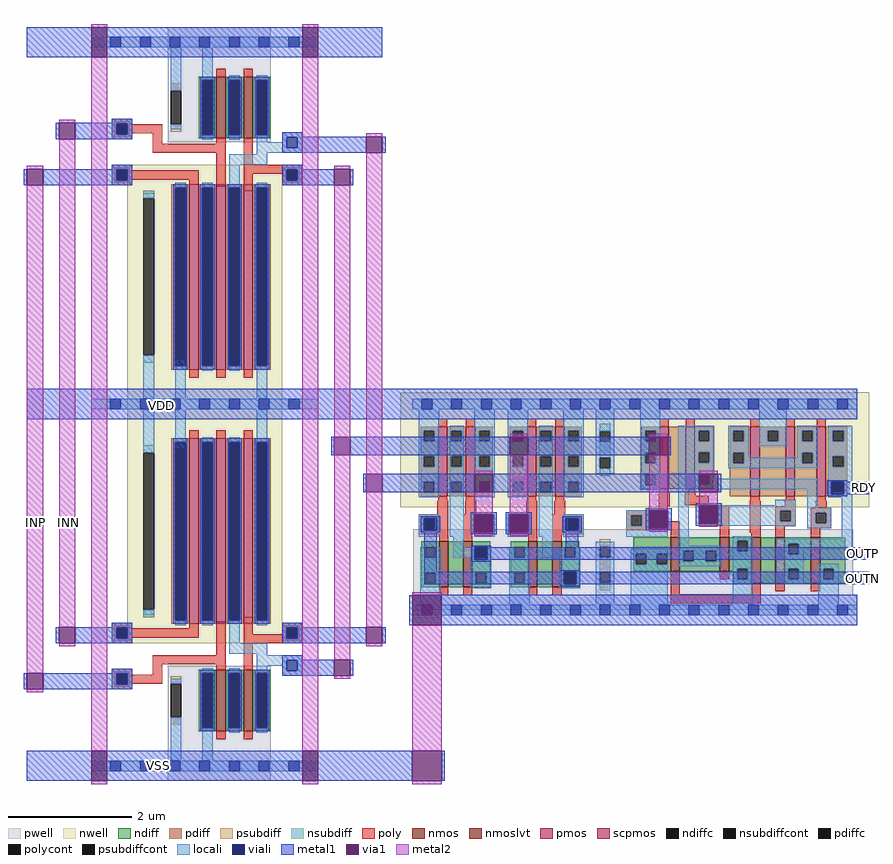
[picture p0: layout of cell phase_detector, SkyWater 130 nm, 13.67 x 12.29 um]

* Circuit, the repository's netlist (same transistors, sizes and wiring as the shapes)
* NGSPICE file created from phase_detector.ext - technology: sky130A

.subckt sky130_fd_sc_hs__nand2_1 A B VGND VNB VPB VPWR Y
X0 a_117_74# B VGND VNB sky130_fd_pr__nfet_01v8_lvt ad=0.0888 pd=0.98 as=0.2109 ps=2.05 w=0.74 l=0.15
X1 VPWR A Y VPB sky130_fd_pr__pfet_01v8 ad=0.3192 pd=2.81 as=0.168 ps=1.42 w=1.12 l=0.15
X2 Y A a_117_74# VNB sky130_fd_pr__nfet_01v8_lvt ad=0.2109 pd=2.05 as=0.0888 ps=0.98 w=0.74 l=0.15
X3 Y B VPWR VPB sky130_fd_pr__pfet_01v8 ad=0.168 pd=1.42 as=0.3192 ps=2.81 w=1.12 l=0.15
.ends

.subckt sky130_fd_sc_hs__xor2_1 A B VGND VNB VPB VPWR X
X0 X B a_455_87# VNB sky130_fd_pr__nfet_01v8_lvt ad=0.1554 pd=1.16 as=0.0888 ps=0.98 w=0.74 l=0.15
X1 X a_194_125# a_355_368# VPB sky130_fd_pr__pfet_01v8 ad=0.3864 pd=2.93 as=0.196 ps=1.47 w=1.12 l=0.15
X2 a_194_125# B a_158_392# VPB sky130_fd_pr__pfet_01v8 ad=0.295 pd=2.59 as=0.135 ps=1.27 w=1 l=0.15
X3 VPWR A a_355_368# VPB sky130_fd_pr__pfet_01v8 ad=0.2352 pd=1.54 as=0.3752 ps=2.91 w=1.12 l=0.15
X4 a_158_392# A VPWR VPB sky130_fd_pr__pfet_01v8 ad=0.135 pd=1.27 as=0.295 ps=2.59 w=1 l=0.15
X5 a_355_368# B VPWR VPB sky130_fd_pr__pfet_01v8 ad=0.196 pd=1.47 as=0.2352 ps=1.54 w=1.12 l=0.15
X6 a_194_125# A VGND VNB sky130_fd_pr__nfet_01v8_lvt ad=0.17738 pd=1.195 as=0.33275 ps=2.31 w=0.55 l=0.15
X7 a_455_87# A VGND VNB sky130_fd_pr__nfet_01v8_lvt ad=0.0888 pd=0.98 as=0.12607 ps=1.1 w=0.74 l=0.15
X8 VGND B a_194_125# VNB sky130_fd_pr__nfet_01v8_lvt ad=0.12607 pd=1.1 as=0.17738 ps=1.195 w=0.55 l=0.15
X9 VGND a_194_125# X VNB sky130_fd_pr__nfet_01v8_lvt ad=0.2997 pd=2.29 as=0.1554 ps=1.16 w=0.74 l=0.15
.ends

.subckt pd_out A B RDY OUTP OUTN VDD VSS
Xx1 B OUTN VSS VSS VDD VDD OUTP sky130_fd_sc_hs__nand2_1
Xx2 OUTP A VSS VSS VDD VDD OUTN sky130_fd_sc_hs__nand2_1
Xx3 A B VSS VSS VDD VDD RDY sky130_fd_sc_hs__xor2_1
.ends

.subckt sky130_fd_pr__pfet_01v8_5EUKDE a_n73_n300# w_n109_n362# a_15_n300# a_n15_n326#
X0 a_15_n300# a_n15_n326# a_n73_n300# w_n109_n362# sky130_fd_pr__pfet_01v8 ad=0.87 pd=6.58 as=0.87 ps=6.58 w=3 l=0.15
.ends

.subckt sky130_fd_pr__nfet_01v8_QQ7V57 a_n73_n100# a_15_n100# a_n15_n126# VSUBS
X0 a_15_n100# a_n15_n126# a_n73_n100# VSUBS sky130_fd_pr__nfet_01v8 ad=0.29 pd=2.58 as=0.29 ps=2.58 w=1 l=0.15
.ends

.subckt pd_in_half OUT VDD VSS INB IN OUTB
Xsky130_fd_pr__pfet_01v8_5EUKDE_0 OUT VDD VDD OUTB sky130_fd_pr__pfet_01v8_5EUKDE
Xsky130_fd_pr__pfet_01v8_5EUKDE_1 sky130_fd_pr__pfet_01v8_5EUKDE_2/a_15_n300# VDD
+ OUT IN sky130_fd_pr__pfet_01v8_5EUKDE
Xsky130_fd_pr__pfet_01v8_5EUKDE_2 VDD VDD sky130_fd_pr__pfet_01v8_5EUKDE_2/a_15_n300#
+ INB sky130_fd_pr__pfet_01v8_5EUKDE
Xsky130_fd_pr__nfet_01v8_QQ7V57_0 VSS sky130_fd_pr__nfet_01v8_QQ7V57_0/a_15_n100#
+ IN VSS sky130_fd_pr__nfet_01v8_QQ7V57
Xsky130_fd_pr__nfet_01v8_QQ7V57_1 sky130_fd_pr__nfet_01v8_QQ7V57_0/a_15_n100# OUT
+ OUTB VSS sky130_fd_pr__nfet_01v8_QQ7V57
.ends

.subckt pd_in INP INN VDD A B VSS
Xpd_in_half_0 B VDD VSS INP INN A pd_in_half
Xpd_in_half_1 A VDD VSS INN INP B pd_in_half
.ends

.subckt phase_detector VDD VSS INP INN RDY OUTP OUTN
Xpd_out_0 pd_in_0/A pd_in_0/B RDY OUTP OUTN VDD VSS pd_out
Xpd_in_0 INP INN VDD pd_in_0/A pd_in_0/B VSS pd_in
.ends

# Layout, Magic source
magic
tech sky130A
magscale 1 2
<< metal1 >>
rect -18 1178 2668 1276
rect 966 1061 976 1121
rect 1028 1061 1260 1121
rect 1070 941 1080 1001
rect 1132 941 1264 1001
rect 2623 935 2706 975
rect 1471 723 2706 763
rect 1759 644 2706 684
rect 1218 512 1228 608
rect 1324 512 1334 608
rect -18 8 1228 106
rect 1324 8 1334 106
<< via1 >>
rect 976 1061 1028 1121
rect 1080 941 1132 1001
rect 1228 512 1324 608
rect 1228 8 1324 106
<< metal2 >>
rect -18 356 34 1935
rect 86 505 138 2084
rect 976 1121 1028 1131
rect 976 1051 1028 1061
rect 1080 1001 1132 1011
rect 1080 931 1132 941
rect 1228 608 1324 618
rect 1228 106 1324 512
rect 1228 -2 1324 8
use pd_in  pd_in_0
transform 1 0 590 0 1 1212
box -618 -1214 552 1244
use pd_out  pd_out_0
transform 1 0 1190 0 1 610
box 0 -98 1516 666
<< labels >>
flabel metal1 401 1208 431 1238 0 FreeSans 400 0 0 0 VDD
port 0 nsew
flabel metal1 392 43 422 73 0 FreeSans 400 0 0 0 VSS
port 1 nsew
flabel metal2 -5 829 25 859 0 FreeSans 400 0 0 0 INP
port 2 nsew
flabel metal2 100 829 130 859 0 FreeSans 400 0 0 0 INN
port 3 nsew
flabel metal1 2672 941 2702 971 0 FreeSans 400 0 0 0 RDY
port 4 nsew
flabel metal1 2669 730 2699 760 0 FreeSans 400 0 0 0 OUTP
port 5 nsew
flabel metal1 2670 648 2700 678 0 FreeSans 400 0 0 0 OUTN
port 6 nsew
<< end >>

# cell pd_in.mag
magic
tech sky130A
magscale 1 2
<< metal1 >>
rect -608 1136 -400 1234
rect -348 1136 282 1234
rect 334 1136 542 1234
rect -514 872 -504 924
rect -452 872 -317 924
rect 283 828 490 880
rect 542 828 552 880
rect -618 723 -608 775
rect -556 723 -317 775
rect 283 723 386 775
rect 438 723 448 775
rect -608 -34 542 64
rect -514 -759 -504 -707
rect -452 -759 -317 -707
rect 283 -759 490 -707
rect 542 -759 552 -707
rect -618 -908 -608 -856
rect -556 -908 -318 -856
rect 283 -864 386 -812
rect 438 -864 448 -812
rect -608 -1204 -400 -1106
rect -348 -1204 282 -1106
rect 334 -1204 542 -1106
<< via1 >>
rect -400 1136 -348 1234
rect 282 1136 334 1234
rect -504 872 -452 924
rect 490 828 542 880
rect -608 723 -556 775
rect 386 723 438 775
rect -504 -759 -452 -707
rect 490 -759 542 -707
rect -608 -908 -556 -856
rect 386 -864 438 -812
rect -400 -1204 -348 -1106
rect 282 -1204 334 -1106
<< metal2 >>
rect -400 1234 -348 1244
rect -504 924 -452 934
rect -608 775 -556 785
rect -608 -856 -556 723
rect -504 -707 -452 872
rect -504 -769 -452 -759
rect -608 -918 -556 -908
rect -400 -1106 -348 1136
rect -400 -1214 -348 -1204
rect 282 1234 334 1244
rect 282 -1106 334 1136
rect 490 880 542 890
rect 386 775 438 785
rect 386 -812 438 723
rect 490 -707 542 828
rect 490 -769 542 -759
rect 386 -874 438 -864
rect 282 -1214 334 -1204
use pd_in_half  pd_in_half_0
transform 1 0 -496 0 -1 793
box 96 -441 830 827
use pd_in_half  pd_in_half_1
transform 1 0 -496 0 1 -763
box 96 -441 830 827
<< labels >>
flabel metal2 -596 -434 -566 -404 0 FreeSans 400 0 0 0 INP
port 0 nsew
flabel metal2 -492 -509 -462 -479 0 FreeSans 400 0 0 0 INN
port 1 nsew
flabel metal1 -2 0 28 30 0 FreeSans 400 0 0 0 VDD
port 2 nsew
flabel metal1 -30 -1169 0 -1139 0 FreeSans 400 0 0 0 VSS
port 3 nsew
flabel metal2 395 409 425 439 0 FreeSans 400 0 0 0 A
port 4 nsew
flabel metal2 498 410 528 440 0 FreeSans 400 0 0 0 B
port 5 nsew
<< end >>

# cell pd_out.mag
magic
tech sky130A
magscale 1 2
<< pwell >>
rect 42 -49 1464 212
<< viali >>
rect 1393 325 1433 365
rect 77 208 117 248
rect 239 201 299 261
rect 353 201 413 261
rect 535 208 575 248
rect 805 214 865 274
rect 967 230 1027 290
rect 241 113 281 153
rect 529 34 569 74
<< metal1 >>
rect 38 568 1478 666
rect 0 451 353 511
rect 413 451 805 511
rect 865 451 875 511
rect 0 331 239 391
rect 299 331 967 391
rect 1027 331 1037 391
rect 1381 365 1445 371
rect 1381 325 1393 365
rect 1433 325 1516 365
rect 1381 319 1445 325
rect 955 290 1039 296
rect 793 274 877 280
rect 227 261 311 267
rect 65 248 129 254
rect 65 208 77 248
rect 117 208 129 248
rect 65 202 129 208
rect 77 74 117 202
rect 227 201 239 261
rect 299 201 311 261
rect 227 195 311 201
rect 341 261 425 267
rect 341 201 353 261
rect 413 201 425 261
rect 523 248 587 254
rect 523 208 535 248
rect 575 208 587 248
rect 793 214 805 274
rect 865 214 877 274
rect 955 230 967 290
rect 1027 230 1039 290
rect 955 224 1039 230
rect 793 208 877 214
rect 523 202 587 208
rect 341 195 425 201
rect 229 153 293 159
rect 535 153 575 202
rect 229 113 241 153
rect 281 113 1516 153
rect 229 107 293 113
rect 517 74 581 80
rect 77 34 529 74
rect 569 34 1516 74
rect 517 28 581 34
rect 38 -98 1478 0
<< via1 >>
rect 353 451 413 511
rect 805 451 865 511
rect 239 331 299 391
rect 967 331 1027 391
rect 239 201 299 261
rect 353 201 413 261
rect 805 214 865 274
rect 967 230 1027 290
<< metal2 >>
rect 353 511 413 521
rect 239 391 299 401
rect 239 261 299 331
rect 239 191 299 201
rect 353 261 413 451
rect 805 511 865 521
rect 805 274 865 451
rect 967 391 1027 401
rect 967 290 1027 331
rect 967 220 1027 230
rect 805 204 865 214
rect 353 191 413 201
use sky130_fd_sc_hs__tapvpwrvgnd_1  sky130_fd_sc_hs__tapvpwrvgnd_1_0 $PDKPATH/libs.ref/sky130_fd_sc_hs/mag
transform 1 0 614 0 1 -49
box -38 -49 134 715
use sky130_fd_sc_hs__nand2_1  x1 $PDKPATH/libs.ref/sky130_fd_sc_hs/mag
transform 1 0 38 0 1 -49
box -38 -49 326 715
use sky130_fd_sc_hs__nand2_1  x2
transform 1 0 326 0 1 -49
box -38 -49 326 715
use sky130_fd_sc_hs__xor2_1  x3 $PDKPATH/libs.ref/sky130_fd_sc_hs/mag
transform 1 0 710 0 1 -49
box -38 -49 806 715
<< labels >>
flabel metal1 0 451 30 511 0 FreeSans 400 0 0 0 A
port 0 nsew
flabel metal1 0 331 30 391 0 FreeSans 400 0 0 0 B
port 1 nsew
flabel metal1 91 568 189 666 0 FreeSans 400 0 0 0 VDD
port 2 nsew
flabel metal1 95 -98 193 0 0 FreeSans 400 0 0 0 VSS
port 3 nsew
flabel metal1 1496 325 1516 365 0 FreeSans 400 0 0 0 RDY
port 4 nsew
flabel metal1 1476 113 1516 153 0 FreeSans 400 0 0 0 OUTP
port 5 nsew
flabel metal1 1476 34 1516 74 0 FreeSans 400 0 0 0 OUTN
port 7 nsew
<< end >>

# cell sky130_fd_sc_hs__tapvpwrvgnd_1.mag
magic
tech sky130A
magscale 1 2
<< nwell >>
rect -38 332 134 704
<< pwell >>
rect 5 38 91 255
<< psubdiff >>
rect 31 205 65 229
rect 31 122 65 171
rect 31 64 65 88
<< nsubdiff >>
rect 31 578 65 602
rect 31 492 65 544
rect 31 434 65 458
<< psubdiffcont >>
rect 31 171 65 205
rect 31 88 65 122
<< nsubdiffcont >>
rect 31 544 65 578
rect 31 458 65 492
<< locali >>
rect 0 649 31 683
rect 65 649 96 683
rect 18 578 78 649
rect 18 544 31 578
rect 65 544 78 578
rect 18 492 78 544
rect 18 458 31 492
rect 65 458 78 492
rect 18 441 78 458
rect 18 205 78 221
rect 18 171 31 205
rect 65 171 78 205
rect 18 122 78 171
rect 18 88 31 122
rect 65 88 78 122
rect 18 17 78 88
rect 0 -17 31 17
rect 65 -17 96 17
<< viali >>
rect 31 649 65 683
rect 31 -17 65 17
<< metal1 >>
rect 0 683 96 715
rect 0 649 31 683
rect 65 649 96 683
rect 0 617 96 649
rect 0 17 96 49
rect 0 -17 31 17
rect 65 -17 96 17
rect 0 -49 96 -17
<< labels >>
rlabel comment s 0 0 0 0 4 tapvpwrvgnd_1
flabel metal1 s 0 617 96 666 0 FreeSans 200 0 0 0 VPWR
port 1 nsew
flabel metal1 s 0 0 96 49 0 FreeSans 200 0 0 0 VGND
port 2 nsew
<< properties >>
string FIXED_BBOX 0 0 96 666
<< end >>

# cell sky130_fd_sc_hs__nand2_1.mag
magic
tech sky130A
magscale 1 2
<< nwell >>
rect -38 332 326 704
<< pwell >>
rect 4 49 278 248
rect 0 0 288 49
<< scpmos >>
rect 84 368 114 592
rect 174 368 204 592
<< nmoslvt >>
rect 87 74 117 222
rect 165 74 195 222
<< ndiff >>
rect 30 202 87 222
rect 30 168 42 202
rect 76 168 87 202
rect 30 120 87 168
rect 30 86 42 120
rect 76 86 87 120
rect 30 74 87 86
rect 117 74 165 222
rect 195 202 252 222
rect 195 168 206 202
rect 240 168 252 202
rect 195 120 252 168
rect 195 86 206 120
rect 240 86 252 120
rect 195 74 252 86
<< pdiff >>
rect 27 580 84 592
rect 27 546 37 580
rect 71 546 84 580
rect 27 497 84 546
rect 27 463 37 497
rect 71 463 84 497
rect 27 414 84 463
rect 27 380 37 414
rect 71 380 84 414
rect 27 368 84 380
rect 114 580 174 592
rect 114 546 127 580
rect 161 546 174 580
rect 114 497 174 546
rect 114 463 127 497
rect 161 463 174 497
rect 114 414 174 463
rect 114 380 127 414
rect 161 380 174 414
rect 114 368 174 380
rect 204 580 261 592
rect 204 546 217 580
rect 251 546 261 580
rect 204 497 261 546
rect 204 463 217 497
rect 251 463 261 497
rect 204 414 261 463
rect 204 380 217 414
rect 251 380 261 414
rect 204 368 261 380
<< ndiffc >>
rect 42 168 76 202
rect 42 86 76 120
rect 206 168 240 202
rect 206 86 240 120
<< pdiffc >>
rect 37 546 71 580
rect 37 463 71 497
rect 37 380 71 414
rect 127 546 161 580
rect 127 463 161 497
rect 127 380 161 414
rect 217 546 251 580
rect 217 463 251 497
rect 217 380 251 414
<< poly >>
rect 84 592 114 618
rect 174 592 204 618
rect 84 353 114 368
rect 174 353 204 368
rect 81 310 117 353
rect 171 310 207 353
rect 21 294 117 310
rect 21 260 37 294
rect 71 260 117 294
rect 21 244 117 260
rect 87 222 117 244
rect 165 294 267 310
rect 165 260 217 294
rect 251 260 267 294
rect 165 244 267 260
rect 165 222 195 244
rect 87 48 117 74
rect 165 48 195 74
<< polycont >>
rect 37 260 71 294
rect 217 260 251 294
<< locali >>
rect 0 649 31 683
rect 65 649 127 683
rect 161 649 223 683
rect 257 649 288 683
rect 21 580 87 649
rect 21 546 37 580
rect 71 546 87 580
rect 21 497 87 546
rect 21 463 37 497
rect 71 463 87 497
rect 21 414 87 463
rect 21 380 37 414
rect 71 380 87 414
rect 21 364 87 380
rect 121 580 167 596
rect 121 546 127 580
rect 161 546 167 580
rect 121 497 167 546
rect 121 463 127 497
rect 161 463 167 497
rect 121 414 167 463
rect 121 380 127 414
rect 161 380 167 414
rect 21 294 87 310
rect 21 260 37 294
rect 71 260 87 294
rect 21 236 87 260
rect 121 236 167 380
rect 201 580 267 649
rect 201 546 217 580
rect 251 546 267 580
rect 201 497 267 546
rect 201 463 217 497
rect 251 463 267 497
rect 201 414 267 463
rect 201 380 217 414
rect 251 380 267 414
rect 201 364 267 380
rect 201 294 267 310
rect 201 260 217 294
rect 251 260 267 294
rect 201 236 267 260
rect 133 202 167 236
rect 26 168 42 202
rect 76 168 92 202
rect 133 168 206 202
rect 240 168 256 202
rect 26 120 92 168
rect 26 86 42 120
rect 76 86 92 120
rect 26 17 92 86
rect 190 120 256 168
rect 190 86 206 120
rect 240 86 256 120
rect 190 70 256 86
rect 0 -17 31 17
rect 65 -17 127 17
rect 161 -17 223 17
rect 257 -17 288 17
<< viali >>
rect 31 649 65 683
rect 127 649 161 683
rect 223 649 257 683
rect 31 -17 65 17
rect 127 -17 161 17
rect 223 -17 257 17
<< metal1 >>
rect 0 683 288 715
rect 0 649 31 683
rect 65 649 127 683
rect 161 649 223 683
rect 257 649 288 683
rect 0 617 288 649
rect 0 17 288 49
rect 0 -17 31 17
rect 65 -17 127 17
rect 161 -17 223 17
rect 257 -17 288 17
rect 0 -49 288 -17
<< labels >>
rlabel comment s 0 0 0 0 4 nand2_1
flabel pwell s 0 0 288 49 0 FreeSans 200 0 0 0 VNB
port 1 nsew
flabel nwell s 0 617 288 666 0 FreeSans 200 0 0 0 VPB
port 2 nsew
flabel metal1 s 0 617 288 666 0 FreeSans 340 0 0 0 VPWR
port 3 nsew
flabel metal1 s 0 0 288 49 0 FreeSans 340 0 0 0 VGND
port 4 nsew
flabel locali s 31 242 65 276 0 FreeSans 340 0 0 0 B
port 6 nsew
flabel locali s 127 242 161 276 0 FreeSans 340 0 0 0 Y
port 7 nsew
flabel locali s 127 316 161 350 0 FreeSans 340 0 0 0 Y
port 7 nsew
flabel locali s 127 390 161 424 0 FreeSans 340 0 0 0 Y
port 7 nsew
flabel locali s 127 464 161 498 0 FreeSans 340 0 0 0 Y
port 7 nsew
flabel locali s 127 538 161 572 0 FreeSans 340 0 0 0 Y
port 7 nsew
flabel locali s 223 242 257 276 0 FreeSans 340 0 0 0 A
port 8 nsew
<< properties >>
string FIXED_BBOX 0 0 288 666
<< end >>

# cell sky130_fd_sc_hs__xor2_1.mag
magic
tech sky130A
magscale 1 2
<< nwell >>
rect -38 332 806 704
<< pwell >>
rect 17 49 754 261
rect 0 0 768 49
<< scpmos >>
rect 128 392 158 592
rect 212 392 242 592
rect 422 368 452 592
rect 536 368 566 592
rect 636 368 666 592
<< nmoslvt >>
rect 164 125 194 235
rect 323 125 353 235
rect 425 87 455 235
rect 503 87 533 235
rect 617 87 647 235
<< ndiff >>
rect 43 182 164 235
rect 43 148 51 182
rect 85 148 119 182
rect 153 148 164 182
rect 43 125 164 148
rect 194 192 323 235
rect 194 158 205 192
rect 239 158 278 192
rect 312 158 323 192
rect 194 125 323 158
rect 353 223 425 235
rect 353 189 380 223
rect 414 189 425 223
rect 353 133 425 189
rect 353 125 380 133
rect 368 99 380 125
rect 414 99 425 133
rect 368 87 425 99
rect 455 87 503 235
rect 533 214 617 235
rect 533 180 544 214
rect 578 180 617 214
rect 533 133 617 180
rect 533 99 544 133
rect 578 99 617 133
rect 533 87 617 99
rect 647 133 728 235
rect 647 99 658 133
rect 692 99 728 133
rect 647 87 728 99
<< pdiff >>
rect 69 580 128 592
rect 69 546 81 580
rect 115 546 128 580
rect 69 509 128 546
rect 69 475 81 509
rect 115 475 128 509
rect 69 438 128 475
rect 69 404 81 438
rect 115 404 128 438
rect 69 392 128 404
rect 158 392 212 592
rect 242 580 301 592
rect 242 546 255 580
rect 289 546 301 580
rect 242 510 301 546
rect 242 476 255 510
rect 289 476 301 510
rect 242 440 301 476
rect 242 406 255 440
rect 289 406 301 440
rect 242 392 301 406
rect 355 580 422 592
rect 355 546 367 580
rect 401 546 422 580
rect 355 508 422 546
rect 355 474 367 508
rect 401 474 422 508
rect 355 368 422 474
rect 452 580 536 592
rect 452 546 478 580
rect 512 546 536 580
rect 452 368 536 546
rect 566 580 636 592
rect 566 546 589 580
rect 623 546 636 580
rect 566 508 636 546
rect 566 474 589 508
rect 623 474 636 508
rect 566 368 636 474
rect 666 580 735 592
rect 666 546 689 580
rect 723 546 735 580
rect 666 497 735 546
rect 666 463 689 497
rect 723 463 735 497
rect 666 414 735 463
rect 666 380 689 414
rect 723 380 735 414
rect 666 368 735 380
<< ndiffc >>
rect 51 148 85 182
rect 119 148 153 182
rect 205 158 239 192
rect 278 158 312 192
rect 380 189 414 223
rect 380 99 414 133
rect 544 180 578 214
rect 544 99 578 133
rect 658 99 692 133
<< pdiffc >>
rect 81 546 115 580
rect 81 475 115 509
rect 81 404 115 438
rect 255 546 289 580
rect 255 476 289 510
rect 255 406 289 440
rect 367 546 401 580
rect 367 474 401 508
rect 478 546 512 580
rect 589 546 623 580
rect 589 474 623 508
rect 689 546 723 580
rect 689 463 723 497
rect 689 380 723 414
<< poly >>
rect 128 592 158 618
rect 212 592 242 618
rect 422 592 452 618
rect 536 592 566 618
rect 636 592 666 618
rect 128 377 158 392
rect 212 377 242 392
rect 125 335 161 377
rect 209 369 245 377
rect 209 339 287 369
rect 422 353 452 368
rect 536 353 566 368
rect 636 353 666 368
rect 125 323 155 335
rect 21 307 155 323
rect 21 273 37 307
rect 71 273 105 307
rect 139 287 155 307
rect 257 323 353 339
rect 257 289 273 323
rect 307 289 353 323
rect 139 273 194 287
rect 257 273 353 289
rect 21 257 194 273
rect 164 235 194 257
rect 323 235 353 273
rect 419 250 455 353
rect 533 336 569 353
rect 425 235 455 250
rect 503 320 569 336
rect 633 330 669 353
rect 503 286 519 320
rect 553 286 569 320
rect 503 270 569 286
rect 617 314 683 330
rect 617 280 633 314
rect 667 280 683 314
rect 503 235 533 270
rect 617 264 683 280
rect 617 235 647 264
rect 164 51 194 125
rect 323 99 353 125
rect 425 51 455 87
rect 503 61 533 87
rect 617 61 647 87
rect 164 21 455 51
<< polycont >>
rect 37 273 71 307
rect 105 273 139 307
rect 273 289 307 323
rect 519 286 553 320
rect 633 280 667 314
<< locali >>
rect 0 649 31 683
rect 65 649 127 683
rect 161 649 223 683
rect 257 649 319 683
rect 353 649 415 683
rect 449 649 511 683
rect 545 649 607 683
rect 641 649 703 683
rect 737 649 768 683
rect 65 580 131 649
rect 65 546 81 580
rect 115 546 131 580
rect 65 509 131 546
rect 65 475 81 509
rect 115 475 131 509
rect 65 438 131 475
rect 65 404 81 438
rect 115 404 131 438
rect 65 388 131 404
rect 189 580 305 596
rect 189 546 255 580
rect 289 546 305 580
rect 189 510 305 546
rect 189 476 255 510
rect 289 476 305 510
rect 189 440 305 476
rect 351 580 417 596
rect 351 546 367 580
rect 401 546 417 580
rect 351 508 417 546
rect 451 580 539 649
rect 451 546 478 580
rect 512 546 539 580
rect 451 530 539 546
rect 573 580 639 596
rect 573 546 589 580
rect 623 546 639 580
rect 351 474 367 508
rect 401 492 417 508
rect 573 508 639 546
rect 573 492 589 508
rect 401 474 589 492
rect 623 474 639 508
rect 351 458 639 474
rect 673 580 751 596
rect 673 546 689 580
rect 723 546 751 580
rect 673 497 751 546
rect 673 463 689 497
rect 723 463 751 497
rect 189 406 255 440
rect 289 424 305 440
rect 289 406 639 424
rect 189 390 639 406
rect 21 307 155 323
rect 21 273 37 307
rect 71 273 105 307
rect 139 273 155 307
rect 21 236 155 273
rect 189 208 223 390
rect 503 339 569 356
rect 257 323 569 339
rect 257 289 273 323
rect 307 320 569 323
rect 307 289 519 320
rect 257 286 519 289
rect 553 286 569 320
rect 257 273 569 286
rect 503 270 569 273
rect 605 330 639 390
rect 673 414 751 463
rect 673 380 689 414
rect 723 380 751 414
rect 673 364 751 380
rect 605 314 683 330
rect 605 280 633 314
rect 667 280 683 314
rect 605 264 683 280
rect 364 223 430 239
rect 717 230 751 364
rect 35 182 155 198
rect 35 148 51 182
rect 85 148 119 182
rect 153 148 155 182
rect 35 17 155 148
rect 189 192 328 208
rect 189 158 205 192
rect 239 158 278 192
rect 312 158 328 192
rect 189 142 328 158
rect 364 189 380 223
rect 414 189 430 223
rect 364 133 430 189
rect 364 99 380 133
rect 414 99 430 133
rect 364 17 430 99
rect 505 214 751 230
rect 505 180 544 214
rect 578 196 751 214
rect 578 180 594 196
rect 505 133 594 180
rect 505 99 544 133
rect 578 99 594 133
rect 505 83 594 99
rect 642 133 708 149
rect 642 99 658 133
rect 692 99 708 133
rect 642 17 708 99
rect 0 -17 31 17
rect 65 -17 127 17
rect 161 -17 223 17
rect 257 -17 319 17
rect 353 -17 415 17
rect 449 -17 511 17
rect 545 -17 607 17
rect 641 -17 703 17
rect 737 -17 768 17
<< viali >>
rect 31 649 65 683
rect 127 649 161 683
rect 223 649 257 683
rect 319 649 353 683
rect 415 649 449 683
rect 511 649 545 683
rect 607 649 641 683
rect 703 649 737 683
rect 31 -17 65 17
rect 127 -17 161 17
rect 223 -17 257 17
rect 319 -17 353 17
rect 415 -17 449 17
rect 511 -17 545 17
rect 607 -17 641 17
rect 703 -17 737 17
<< metal1 >>
rect 0 683 768 715
rect 0 649 31 683
rect 65 649 127 683
rect 161 649 223 683
rect 257 649 319 683
rect 353 649 415 683
rect 449 649 511 683
rect 545 649 607 683
rect 641 649 703 683
rect 737 649 768 683
rect 0 617 768 649
rect 0 17 768 49
rect 0 -17 31 17
rect 65 -17 127 17
rect 161 -17 223 17
rect 257 -17 319 17
rect 353 -17 415 17
rect 449 -17 511 17
rect 545 -17 607 17
rect 641 -17 703 17
rect 737 -17 768 17
rect 0 -49 768 -17
<< labels >>
rlabel comment s 0 0 0 0 4 xor2_1
flabel pwell s 0 0 768 49 0 FreeSans 200 0 0 0 VNB
port 1 nsew
flabel nwell s 0 617 768 666 0 FreeSans 200 0 0 0 VPB
port 2 nsew
flabel metal1 s 0 617 768 666 0 FreeSans 340 0 0 0 VPWR
port 3 nsew
flabel metal1 s 0 0 768 49 0 FreeSans 340 0 0 0 VGND
port 4 nsew
flabel locali s 31 242 65 276 0 FreeSans 340 0 0 0 A
port 6 nsew
flabel locali s 511 316 545 350 0 FreeSans 340 0 0 0 B
port 7 nsew
flabel locali s 511 94 545 128 0 FreeSans 340 0 0 0 X
port 8 nsew
flabel locali s 511 168 545 202 0 FreeSans 340 0 0 0 X
port 8 nsew
<< properties >>
string FIXED_BBOX 0 0 768 666
<< end >>

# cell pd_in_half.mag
magic
tech sky130A
magscale 1 2
<< nwell >>
rect 213 707 713 827
rect 213 5 319 707
<< pwell >>
rect 344 -441 677 -69
<< psubdiff >>
rect 353 -127 387 -103
rect 353 -259 387 -235
<< nsubdiff >>
rect 265 621 299 645
rect 265 89 299 113
<< psubdiffcont >>
rect 353 -235 387 -127
<< nsubdiffcont >>
rect 265 113 299 621
<< poly >>
rect 163 54 229 70
rect 163 20 179 54
rect 213 52 229 54
rect 413 52 443 58
rect 213 22 443 52
rect 213 20 229 22
rect 163 4 229 20
rect 501 -34 531 76
rect 295 -64 531 -34
rect 589 34 619 90
rect 713 54 779 70
rect 713 34 729 54
rect 589 20 729 34
rect 763 20 779 54
rect 589 4 779 20
rect 589 -55 619 4
rect 163 -95 229 -79
rect 163 -129 179 -95
rect 213 -97 229 -95
rect 295 -97 325 -64
rect 501 -77 531 -64
rect 213 -127 325 -97
rect 213 -129 229 -127
rect 163 -145 229 -129
<< polycont >>
rect 179 20 213 54
rect 729 20 763 54
rect 179 -129 213 -95
<< locali >>
rect 96 761 158 795
rect 192 761 254 795
rect 288 761 350 795
rect 384 761 446 795
rect 480 761 542 795
rect 576 761 638 795
rect 672 761 734 795
rect 768 761 830 795
rect 265 621 299 761
rect 367 636 401 761
rect 631 671 665 761
rect 265 97 299 113
rect 163 54 229 70
rect 163 20 179 54
rect 213 20 229 54
rect 163 4 229 20
rect 543 4 577 67
rect 713 54 779 70
rect 713 20 729 54
rect 763 20 779 54
rect 713 4 779 20
rect 543 -30 665 4
rect 631 -35 665 -30
rect 631 -51 779 -35
rect 631 -69 729 -51
rect 163 -95 229 -79
rect 631 -81 665 -69
rect 163 -129 179 -95
rect 213 -129 229 -95
rect 713 -85 729 -69
rect 763 -85 779 -51
rect 713 -101 779 -85
rect 163 -145 229 -129
rect 353 -127 387 -111
rect 353 -375 387 -235
rect 455 -375 489 -285
rect 96 -409 158 -375
rect 192 -409 254 -375
rect 288 -409 350 -375
rect 384 -409 446 -375
rect 480 -409 542 -375
rect 576 -409 638 -375
rect 672 -409 734 -375
rect 768 -409 830 -375
<< viali >>
rect 158 761 192 795
rect 254 761 288 795
rect 350 761 384 795
rect 446 761 480 795
rect 542 761 576 795
rect 638 761 672 795
rect 734 761 768 795
rect 179 20 213 54
rect 729 20 763 54
rect 179 -129 213 -95
rect 729 -85 763 -51
rect 158 -409 192 -375
rect 254 -409 288 -375
rect 350 -409 384 -375
rect 446 -409 480 -375
rect 542 -409 576 -375
rect 638 -409 672 -375
rect 734 -409 768 -375
<< metal1 >>
rect 96 795 830 827
rect 96 761 158 795
rect 192 761 254 795
rect 288 761 350 795
rect 384 761 446 795
rect 480 761 542 795
rect 576 761 638 795
rect 672 761 734 795
rect 768 761 830 795
rect 96 729 830 761
rect 163 54 229 70
rect 163 20 179 54
rect 213 20 229 54
rect 163 4 229 20
rect 713 54 779 70
rect 713 20 729 54
rect 763 20 779 54
rect 713 4 779 20
rect 713 -51 779 -35
rect 163 -95 229 -79
rect 163 -129 179 -95
rect 213 -129 229 -95
rect 713 -85 729 -51
rect 763 -85 779 -51
rect 713 -101 779 -85
rect 163 -145 229 -129
rect 96 -375 830 -343
rect 96 -409 158 -375
rect 192 -409 254 -375
rect 288 -409 350 -375
rect 384 -409 446 -375
rect 480 -409 542 -375
rect 576 -409 638 -375
rect 672 -409 734 -375
rect 768 -409 830 -375
rect 96 -441 830 -409
use sky130_fd_pr__nfet_01v8_QQ7V57  sky130_fd_pr__nfet_01v8_QQ7V57_0
transform 1 0 516 0 1 -181
box -73 -126 73 126
use sky130_fd_pr__nfet_01v8_QQ7V57  sky130_fd_pr__nfet_01v8_QQ7V57_1
transform 1 0 604 0 1 -181
box -73 -126 73 126
use sky130_fd_pr__pfet_01v8_5EUKDE  sky130_fd_pr__pfet_01v8_5EUKDE_0
transform 1 0 604 0 1 367
box -109 -362 109 362
use sky130_fd_pr__pfet_01v8_5EUKDE  sky130_fd_pr__pfet_01v8_5EUKDE_1
transform 1 0 516 0 1 367
box -109 -362 109 362
use sky130_fd_pr__pfet_01v8_5EUKDE  sky130_fd_pr__pfet_01v8_5EUKDE_2
transform 1 0 428 0 1 367
box -109 -362 109 362
<< labels >>
flabel metal1 96 729 158 827 0 FreeSans 400 0 0 0 VDD
port 4 nsew
flabel metal1 96 -441 158 -343 0 FreeSans 400 0 0 0 VSS
port 5 nsew
flabel metal1 179 20 213 54 0 FreeSans 400 0 0 0 INB
port 8 nsew
flabel metal1 179 -129 213 -95 0 FreeSans 400 0 0 0 IN
port 9 nsew
flabel metal1 729 20 763 54 0 FreeSans 400 0 0 0 OUTB
port 10 nsew
flabel viali 729 -85 763 -51 0 FreeSans 400 0 0 0 OUT
port 3 nsew
<< end >>

# cell sky130_fd_pr__nfet_01v8_QQ7V57: kit device sky130_fd_pr__nfet_01v8, w 1 l 0.150 m 1 nf 1 diffcov 100 polycov 100 guard 0 glc 0 grc 0 gtc 0 gbc 0 tbcov 100 rlcov 100 topc 0 botc 0 poverlap 0 doverlap 1 lmin 0.15 wmin 0.42 compatible {sky130_fd_pr__nfet_01v8 sky130_fd_pr__nfet_01v8_lvt sky130_fd_bs_flash__special_sonosfet_star sky130_fd_pr__nfet_g5v0d10v5 sky130_fd_pr__nfet_05v0_nvt sky130_fd_pr__nfet_03v3_nvt} full_metal 0 viasrc 100 viadrn 100 viagate 100 viagb 0 viagr 0 viagl 0 viagt 0

# cell sky130_fd_pr__pfet_01v8_5EUKDE: kit device sky130_fd_pr__pfet_01v8, w 3 l 0.15 m 1 nf 1 diffcov 100 polycov 100 guard 0 glc 0 grc 0 gtc 0 gbc 0 tbcov 100 rlcov 100 topc 0 botc 0 poverlap 0 doverlap 1 lmin 0.15 wmin 0.42 compatible {sky130_fd_pr__pfet_01v8 sky130_fd_pr__pfet_01v8_lvt sky130_fd_pr__pfet_01v8_hvt sky130_fd_pr__pfet_g5v0d10v5} full_metal 0 viasrc 100 viadrn 100 viagate 100 viagb 0 viagr 0 viagl 0 viagt 0
